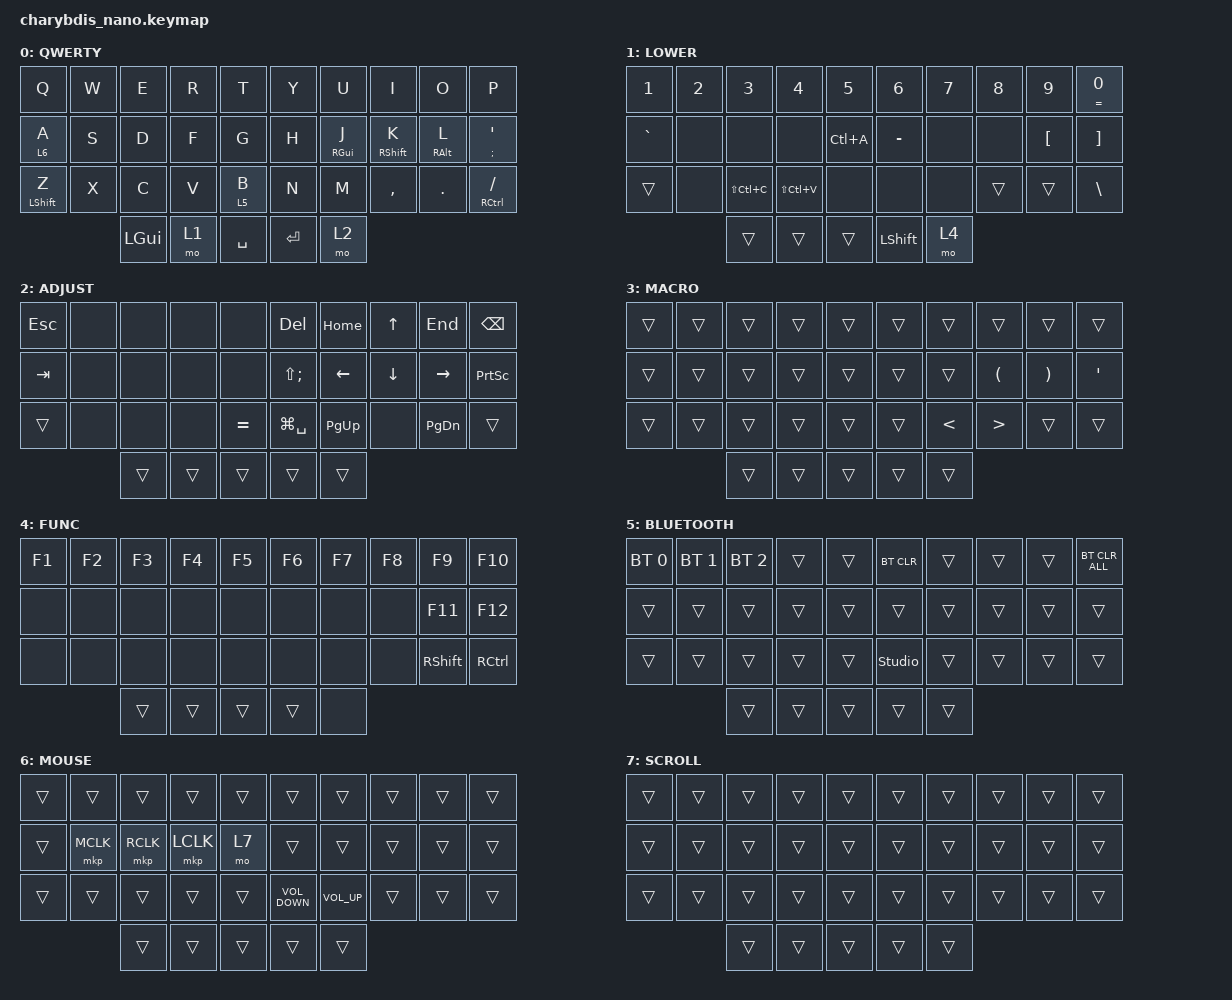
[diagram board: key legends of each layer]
#include <behaviors.dtsi>
#include <dt-bindings/zmk/bt.h>
#include <dt-bindings/zmk/keys.h>
#include <dt-bindings/zmk/pointing.h>

/ {
    behaviors {
        hm: homerow_mods {
            compatible = "zmk,behavior-hold-tap";
            label = "HOMEROW_MODS";
            #binding-cells = <2>;
            tapping-term-ms = <300>;
            quick_tap_ms = <0>;
            flavor = "tap-preferred";
            bindings = <&kp>, <&kp>;
        };
    };

    conditional_layers { compatible = "zmk,conditional-layers"; };

    combos {
        compatible = "zmk,combos";

        esc {
            bindings = <&kp ESC>;
            key-positions = <0 1>;
            layers = <0 1 2 3 4>;
        };

        back {
            bindings = <&kp BACKSPACE>;
            key-positions = <8 9>;
            layers = <0 2 1 3 4>;
        };

        Tab {
            bindings = <&kp TAB>;
            key-positions = <10 11>;
            layers = <0 1 2 3 4>;
        };
    };

    keymap {
        compatible = "zmk,keymap";

        QWERTY {
            bindings = <
&kp Q             &kp W  &kp E         &kp R  &kp T        &kp Y      &kp U            &kp I              &kp O            &kp P
&lt 6 A           &kp S  &kp D         &kp F  &kp G        &kp H      &hm RIGHT_GUI J  &hm RIGHT_SHIFT K  &hm RIGHT_ALT L  &hm SEMI SQT
&hm LEFT_SHIFT Z  &kp X  &kp C         &kp V  &lt 5 B      &kp N      &kp M            &kp COMMA          &kp PERIOD       &hm RCTRL SLASH
                         &kp LEFT_GUI  &mo 1  &kp SPACE    &kp ENTER  &mo 2
            >;

            label = "QWERTY";
        };

        LOWER {
            bindings = <
&kp N1     &kp N2  &kp N3         &kp N4         &kp N5       &kp N6          &kp N7  &kp N8  &kp N9            &hm EQUAL N0
&kp GRAVE  &none   &none          &none          &kp LC(A)    &kp MINUS       &none   &none   &kp LEFT_BRACKET  &kp RIGHT_BRACKET
&trans     &none   &kp LS(LC(C))  &kp LS(LC(V))  &none        &none           &none   &trans  &trans            &kp BACKSLASH
                   &trans         &trans         &trans       &kp LEFT_SHIFT  &mo 4
            >;

            label = "LOWER";
        };

        ADJUST {
            bindings = <
&kp ESC  &none  &none   &none   &none        &kp DELETE         &kp HOME        &kp UP_ARROW    &kp END          &kp BACKSPACE
&kp TAB  &none  &none   &none   &none        &kp LS(SEMICOLON)  &kp LEFT_ARROW  &kp DOWN_ARROW  &kp RIGHT_ARROW  &kp PRINTSCREEN
&trans   &none  &none   &none   &kp EQUAL    &kp LG(SPACE)      &kp PAGE_UP     &none           &kp PAGE_DOWN    &trans
                &trans  &trans  &trans       &trans             &trans
            >;

            label = "ADJUST";
        };

        MACRO {
            label = "MACRO";
            bindings = <
&trans  &trans  &trans  &trans  &trans    &trans  &trans         &trans                &trans                 &trans
&trans  &trans  &trans  &trans  &trans    &trans  &trans         &kp LEFT_PARENTHESIS  &kp RIGHT_PARENTHESIS  &kp SINGLE_QUOTE
&trans  &trans  &trans  &trans  &trans    &trans  &kp LESS_THAN  &kp GREATER_THAN      &trans                 &trans
                &trans  &trans  &trans    &trans  &trans
            >;
        };

        FUNC {
            label = "FUNC";
            bindings = <
&kp F1  &kp F2  &kp F3  &kp F4  &kp F5    &kp F6  &kp F7  &kp F8  &kp F9           &kp F10
&none   &none   &none   &none   &none     &none   &none   &none   &kp F11          &kp F12
&none   &none   &none   &none   &none     &none   &none   &none   &kp RIGHT_SHIFT  &kp RCTRL
                &trans  &trans  &trans    &trans  &none
            >;
        };

        BLUETOOTH {
            bindings = <
&bt BT_SEL 0  &bt BT_SEL 1  &bt BT_SEL 2  &trans  &trans    &bt BT_CLR      &trans  &trans  &trans  &bt BT_CLR_ALL
&trans        &trans        &trans        &trans  &trans    &trans          &trans  &trans  &trans  &trans
&trans        &trans        &trans        &trans  &trans    &studio_unlock  &trans  &trans  &trans  &trans
                            &trans        &trans  &trans    &trans          &trans
            >;
        };

        MOUSE {
            label = "MOUSE";
            bindings = <
&trans  &trans     &trans     &trans     &trans    &trans             &trans           &trans  &trans  &trans
&trans  &mkp MCLK  &mkp RCLK  &mkp LCLK  &mo 7     &trans             &trans           &trans  &trans  &trans
&trans  &trans     &trans     &trans     &trans    &kp C_VOLUME_DOWN  &kp C_VOLUME_UP  &trans  &trans  &trans
                   &trans     &trans     &trans    &trans             &trans
            >;
        };

        SCROLL {
            label = "SCROLL";
            bindings = <
&trans  &trans  &trans  &trans  &trans    &trans  &trans  &trans  &trans  &trans
&trans  &trans  &trans  &trans  &trans    &trans  &trans  &trans  &trans  &trans
&trans  &trans  &trans  &trans  &trans    &trans  &trans  &trans  &trans  &trans
                &trans  &trans  &trans    &trans  &trans
            >;
        };
    };
};
